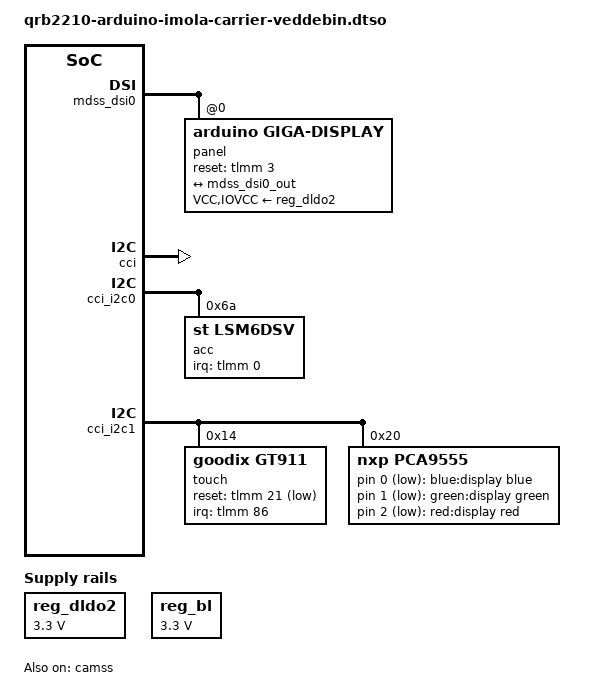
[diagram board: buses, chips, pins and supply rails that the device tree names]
// SPDX-License-Identifier: (GPL-2.0+ OR BSD-3-Clause)
/*
 * Copyright (c) 2025, Arduino SA
 */

/dts-v1/;
/plugin/;

#include <dt-bindings/gpio/gpio.h>
#include <dt-bindings/leds/common.h>
#include <dt-bindings/interrupt-controller/arm-gic.h>

/ {
	reg_dldo2: reg-dldo2 {
		compatible = "regulator-fixed";
		regulator-name = "mipi_panel_reg";
		regulator-min-microvolt = <3300000>;
		regulator-max-microvolt = <3300000>;
		regulator-always-on;
	};

	reg_bl: reg-bl {
		compatible = "regulator-fixed";
		regulator-name = "mipi_panel_backlight";
		regulator-min-microvolt = <3300000>;
		regulator-max-microvolt = <3300000>;
		regulator-always-on;
	};
};

&mdss_dsi0 {
	vdda-supply = <&pm4125_l5>;
	status = "okay";

	#address-cells = <1>;
	#size-cells = <0>;

	panel@0 {
		compatible = "arduino,giga-display","sitronix,st7701";
		reg = <0x0>;
		VCC-supply = <&reg_dldo2>;
		IOVCC-supply = <&reg_dldo2>;
		reset-gpios = <&tlmm 3 GPIO_ACTIVE_HIGH>;
		dsi-lanes = <2>;
		video-mode = <2>;	/* 0: burst mode
					 * 1: non-burst mode with sync event
					 * 2: non-burst mode with sync pulse
					 */
		status = "okay";

		port {
			panel0_in: endpoint {
				remote-endpoint = <&mdss_dsi0_out>;
			};
		};
	};
};

&mdss_dsi0_out {
	remote-endpoint = <&panel0_in>;
	data-lanes = <0 1>;
};

&anx_dsi0_in {
	remote-endpoint = <>;
};

&cci {
	status= "okay";
};

&camss {
       status = "okay";

       vdda-csiphy-1p2-supply = <&pm4125_l5>;
       vdda-pll-1p8-supply = <&pm4125_l13>;
};

&i2c0 {
	status = "disabled";
};

&cci_i2c0 {
	#address-cells = <1>;
	#size-cells = <0>;

	acc: imu@6a {
        compatible = "st,lsm6dsv";
        reg = <0x6a>;
        interrupts-extended = <&tlmm 0 IRQ_TYPE_EDGE_FALLING>;
    };
};

&cci_i2c1 {
	#address-cells = <1>;
	#size-cells = <0>;

	touch@14 {
		status = "okay";
		compatible = "goodix,gt911";
		reg = <0x14>;
		interrupts-extended = <&tlmm 86 IRQ_TYPE_EDGE_FALLING>;
		reset-gpios = <&tlmm 21 GPIO_ACTIVE_LOW>;
	};

	pca9555: gpio@20 {
		compatible = "nxp,pca9555";
		reg = <0x20>;
		gpio-controller;
		#gpio-cells = <2>;
		status = "okay";
	};
};

&leds {
	display-blue {
		label = "blue:display";
		function = LED_FUNCTION_INDICATOR;
		color = <LED_COLOR_ID_BLUE>;
		gpios = <&pca9555 0 GPIO_ACTIVE_LOW>;
		linux,default-trigger = "none";
		default-state = "off";
	};

	display-green {
		label = "green:display";
		function = LED_FUNCTION_INDICATOR;
		color = <LED_COLOR_ID_GREEN>;
		gpios = <&pca9555 1 GPIO_ACTIVE_LOW>;
		linux,default-trigger = "none";
		default-state = "off";
	};

	display-red {
		label = "red:display";
		function = LED_FUNCTION_INDICATOR;
		color = <LED_COLOR_ID_RED>;
		gpios = <&pca9555 2 GPIO_ACTIVE_LOW>;
		linux,default-trigger = "none";
		default-state = "off";
	};
};
